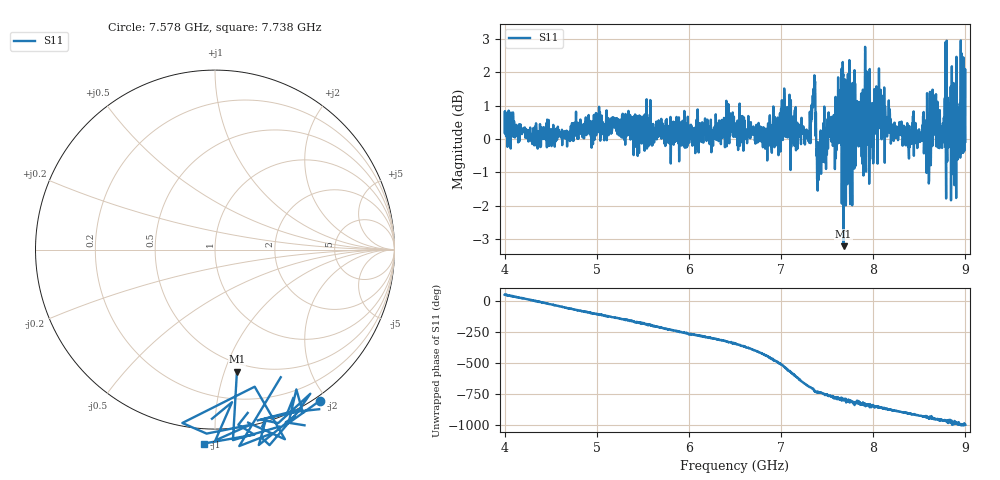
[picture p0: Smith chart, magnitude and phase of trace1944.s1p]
! Created with skrf 1.8.0 (http://scikit-rf.org).
# Hz S RI R 50.0
!freq ReS11 ImS11
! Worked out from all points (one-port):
!   1601 points, 4 GHz to 9 GHz, reference 50 ohm
!   lowest |S11| = -3.2 dB at 7.678 GHz (marker M1), VSWR 5.47, Z = 21.2 - j55.1 ohm
!   |S11| at or under -10 dB: nowhere
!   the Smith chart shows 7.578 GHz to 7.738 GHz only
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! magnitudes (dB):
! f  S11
! 4 GHz  0.2
! 4.625 GHz  -0.2
! 5.25 GHz  0.3
! 5.875 GHz  0.2
! 6.5 GHz  0.4
! 6.847 GHz  0.3
! 7.022 GHz  0.8
! 7.125 GHz  0.7
! 7.284 GHz  0.2
! 7.347 GHz  1.0
! 7.409 GHz  -1.2
! 7.528 GHz  0.1
! 7.678 GHz  -3.2
! 7.703 GHz  -2.0
! 7.75 GHz  -2.0
! 7.769 GHz  -0.5
! 7.822 GHz  0.3
! 7.928 GHz  2.0
! 7.981 GHz  0.2
! 8.088 GHz  0.0
! 8.375 GHz  0.1
! 8.562 GHz  0.0
! 8.603 GHz  -1.3
! 8.656 GHz  1.3
! 8.844 GHz  -1.8
! 8.919 GHz  -0.5
! 8.972 GHz  0.7
! 9 GHz  -0.1
